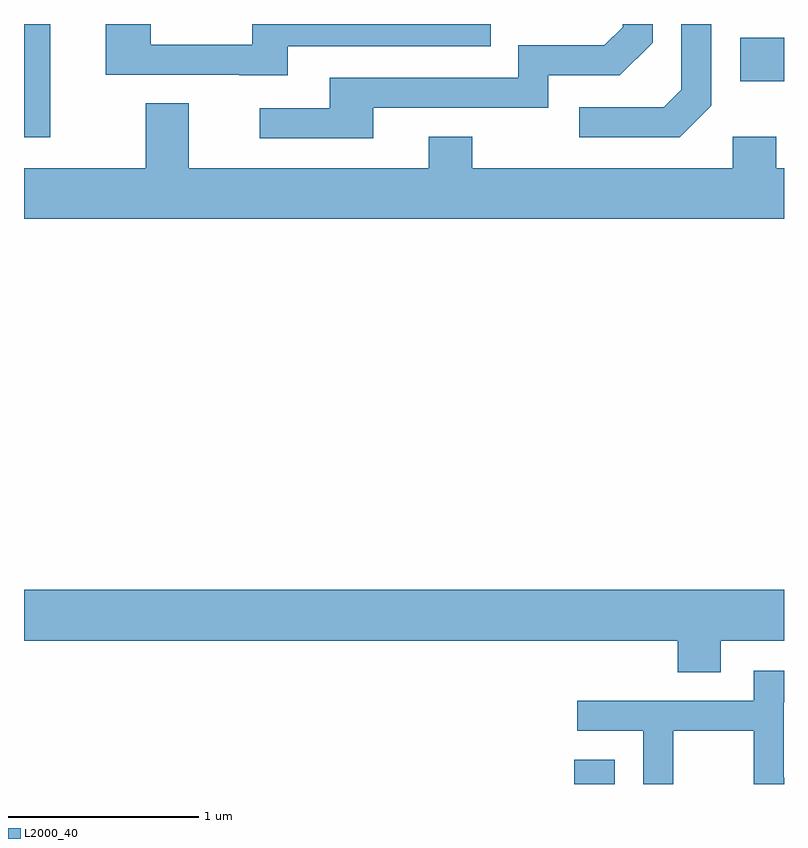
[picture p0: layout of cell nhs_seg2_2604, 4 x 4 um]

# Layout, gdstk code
import gdstk
lib = gdstk.Library(unit=1e-6, precision=1e-09)
def R(c, l, rs):  # rectangles x0, y0, x1, y1
    for r in rs: c.add(gdstk.rectangle(r[:2], r[2:], *l))
def P(c, l, *ps):  # polygons
    for p in ps: c.add(gdstk.Polygon(p, *l))
L2000_40 = (2000, 40)

nhs_seg2_2604 = lib.new_cell('nhs_seg2_2604')
R(nhs_seg2_2604, L2000_40, [(264.506,1029.802,264.719,1029.929), (261.611,1033.206,261.749,1033.802), (265.381,1033.501,265.611,1033.729)])
P(nhs_seg2_2604, L2000_40, [(263.449,1033.361),(264.369,1033.361),(264.369,1033.531),(264.747,1033.531),(264.919,1033.704),(264.919,1033.802),(264.761,1033.802),(264.761,1033.786),(264.664,1033.689),(264.211,1033.689),(264.211,1033.519),(263.221,1033.519),(263.221,1033.359),(262.853,1033.359),(262.853,1033.201),(263.449,1033.201)],
  [(265.229,1033.373),(265.229,1033.802),(265.071,1033.802),(265.071,1033.457),(264.979,1033.364),(264.533,1033.364),(264.533,1033.206),(265.062,1033.206)],
  [(262.999,1033.686),(264.068,1033.686),(264.068,1033.802),(262.811,1033.802),(262.811,1033.694),(262.279,1033.694),(262.279,1033.802),(262.041,1033.802),(262.041,1033.536),(262.745,1033.536),(262.745,1033.531),(262.999,1033.531)],
  [(265.611,1033.044),(265.569,1033.044),(265.569,1033.209),(265.341,1033.209),(265.341,1033.044),(263.969,1033.044),(263.969,1033.209),(263.741,1033.209),(263.741,1033.044),(262.479,1033.044),(262.479,1033.384),(262.251,1033.384),(262.251,1033.044),(261.611,1033.044),(261.611,1032.776),(265.611,1032.776)],
  [(265.279,1030.556),(265.611,1030.556),(265.611,1030.824),(261.611,1030.824),(261.611,1030.556),(265.051,1030.556),(265.051,1030.391),(265.279,1030.391)],
  [(265.029,1030.081),(265.451,1030.081),(265.451,1029.802),(265.611,1029.802),(265.611,1029.835),(265.609,1029.837),(265.609,1030.231),(265.611,1030.231),(265.611,1030.399),(265.451,1030.399),(265.451,1030.239),(264.523,1030.239),(264.523,1030.081),(264.871,1030.081),(264.871,1029.802),(265.029,1029.802)])

lib.write_gds('nhs_seg2_2604.gds')
